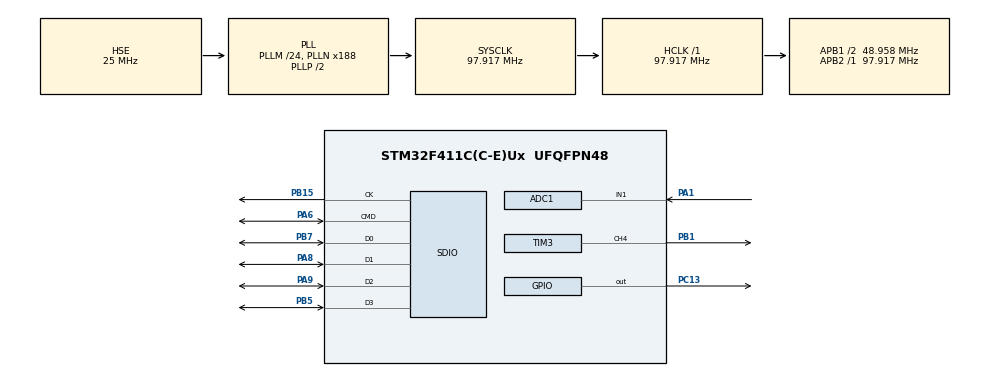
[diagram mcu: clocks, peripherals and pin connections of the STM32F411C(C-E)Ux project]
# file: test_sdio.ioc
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ADC1.Channel-2\#ChannelRegularConversion=ADC_CHANNEL_1
ADC1.NbrOfConversionFlag=1
ADC1.Rank-2\#ChannelRegularConversion=1
ADC1.Resolution=ADC_RESOLUTION_8B
ADC1.SamplingTime-2\#ChannelRegularConversion=ADC_SAMPLETIME_3CYCLES
ADC1.master=1
Dma.Request0=SDIO_RX
Dma.Request1=SDIO_TX
Dma.SDIO_RX.0.Direction=DMA_PERIPH_TO_MEMORY
Dma.SDIO_RX.0.FIFOMode=DMA_FIFOMODE_ENABLE
Dma.SDIO_RX.0.FIFOThreshold=DMA_FIFO_THRESHOLD_FULL
Dma.SDIO_RX.0.Instance=DMA2_Stream3
Dma.SDIO_RX.0.MemBurst=DMA_MBURST_INC4
Dma.SDIO_RX.0.MemDataAlignment=DMA_MDATAALIGN_WORD
Dma.SDIO_RX.0.MemInc=DMA_MINC_ENABLE
Dma.SDIO_RX.0.Mode=DMA_PFCTRL
Dma.SDIO_RX.0.PeriphBurst=DMA_PBURST_INC4
Dma.SDIO_RX.0.PeriphDataAlignment=DMA_PDATAALIGN_WORD
Dma.SDIO_RX.0.PeriphInc=DMA_PINC_DISABLE
Dma.SDIO_RX.0.Priority=DMA_PRIORITY_LOW
Dma.SDIO_TX.1.Direction=DMA_MEMORY_TO_PERIPH
Dma.SDIO_TX.1.FIFOMode=DMA_FIFOMODE_ENABLE
Dma.SDIO_TX.1.FIFOThreshold=DMA_FIFO_THRESHOLD_FULL
Dma.SDIO_TX.1.Instance=DMA2_Stream6
Dma.SDIO_TX.1.MemBurst=DMA_MBURST_INC4
Dma.SDIO_TX.1.MemDataAlignment=DMA_MDATAALIGN_WORD
Dma.SDIO_TX.1.MemInc=DMA_MINC_ENABLE
Dma.SDIO_TX.1.Mode=DMA_PFCTRL
Dma.SDIO_TX.1.PeriphBurst=DMA_PBURST_INC4
Dma.SDIO_TX.1.PeriphDataAlignment=DMA_PDATAALIGN_WORD
Dma.SDIO_TX.1.PeriphInc=DMA_PINC_DISABLE
Dma.SDIO_TX.1.Priority=DMA_PRIORITY_LOW
Mcu.Family=STM32F4
Mcu.Name=STM32F411C(C-E)Ux
Mcu.Package=UFQFPN48
NVIC.DMA2_Stream3_IRQn=true\:2\:0\:true\:false\:true\:false\:true\:true
NVIC.DMA2_Stream6_IRQn=true\:3\:0\:true\:false\:true\:false\:true\:true
NVIC.PriorityGroup=NVIC_PRIORITYGROUP_4
NVIC.SDIO_IRQn=true\:1\:0\:true\:false\:true\:true\:true\:true
NVIC.TIM3_IRQn=true\:0\:0\:true\:false\:true\:true\:true\:true
PA1.Signal=ADCx_IN1
PA13.Mode=Serial_Wire
PA13.Signal=SYS_JTMS-SWDIO
PA14.Mode=Serial_Wire
PA14.Signal=SYS_JTCK-SWCLK
PA6.Mode=SD_4_bits_Wide_bus
PA6.Signal=SDIO_CMD
PA8.Mode=SD_4_bits_Wide_bus
PA8.Signal=SDIO_D1
PA9.Mode=SD_4_bits_Wide_bus
PA9.Signal=SDIO_D2
PB1.Signal=S_TIM3_CH4
PB15.Mode=SD_4_bits_Wide_bus
PB15.Signal=SDIO_CK
PB5.Mode=SD_4_bits_Wide_bus
PB5.Signal=SDIO_D3
PB7.Mode=SD_4_bits_Wide_bus
PB7.Signal=SDIO_D0
PC13-ANTI_TAMP.PinState=GPIO_PIN_SET
PC13-ANTI_TAMP.Signal=GPIO_Output
PH0\ -\ OSC_IN.Mode=HSE-External-Oscillator
PH0\ -\ OSC_IN.Signal=RCC_OSC_IN
PH1\ -\ OSC_OUT.Mode=HSE-External-Oscillator
PH1\ -\ OSC_OUT.Signal=RCC_OSC_OUT
ProjectManager.HeapSize=0x400
ProjectManager.StackSize=0x800
ProjectManager.TargetToolchain=EWARM V8
RCC.48MHZClocksFreq_Value=24479166.666666664
RCC.AHBFreq_Value=97916666.66666666
RCC.APB1CLKDivider=RCC_HCLK_DIV2
RCC.APB1Freq_Value=48958333.33333333
RCC.APB1TimFreq_Value=97916666.66666666
RCC.APB2Freq_Value=97916666.66666666
RCC.APB2TimFreq_Value=97916666.66666666
RCC.CortexFreq_Value=97916666.66666666
RCC.HCLKFreq_Value=97916666.66666666
RCC.HSE_VALUE=25000000
RCC.HSI_VALUE=16000000
RCC.LSE_VALUE=32768
RCC.PLLM=24
RCC.PLLN=188
RCC.PLLQ=8
RCC.PLLSourceVirtual=RCC_PLLSOURCE_HSE
RCC.SYSCLKFreq_VALUE=97916666.66666666
RCC.SYSCLKSource=RCC_SYSCLKSOURCE_PLLCLK
RCC.VCOOutputFreq_Value=195833333.3333333
SDIO.ClockBypass=SDIO_CLOCK_BYPASS_ENABLE
SDIO.ClockDiv=10
SDIO.HardwareFlowControl=SDIO_HARDWARE_FLOW_CONTROL_ENABLE
SH.ADCx_IN1.0=ADC1_IN1,IN1
SH.S_TIM3_CH4.0=TIM3_CH4,PWM Generation4 CH4
TIM3.Channel-PWM\ Generation4\ CH4=TIM_CHANNEL_4
TIM3.Period=255
TIM3.Prescaler=12
VP_TIM3_VS_ClockSourceINT.Mode=Internal
board=custom

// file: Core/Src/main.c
/* USER CODE BEGIN Header */
/**
  ******************************************************************************
  * @file           : main.c
  * @brief          : Main program body
  ******************************************************************************
  * @attention
  *
  * Copyright (c) 2023 STMicroelectronics.
  * All rights reserved.
  *
  * This software is licensed under terms that can be found in the LICENSE file
  * in the root directory of this software component.
  * If no LICENSE file comes with this software, it is provided AS-IS.
  *
  ******************************************************************************
  */
/* USER CODE END Header */
#include "main.h"

ADC_HandleTypeDef hadc1;

SD_HandleTypeDef hsd;
DMA_HandleTypeDef hdma_sdio_rx;
DMA_HandleTypeDef hdma_sdio_tx;

TIM_HandleTypeDef htim3;

/* USER CODE BEGIN PV */
const uint32_t MAX_CARD_SECTOR = 122800;//6 min
uint16_t playerIndex;
uint32_t cardSector = 0;
uint8_t readingSemaphore;
uint8_t sdCardReadBuffer[1026]; // Buffer to hold read data
uint8_t sdCardWriteBuffer[1024]; // Buffer to hold read data
HAL_StatusTypeDef stat;
HAL_SD_CardInfoTypeDef cardInfo;
/* USER CODE END PV */

void SystemClock_Config(void);
static void MX_GPIO_Init(void);
static void MX_DMA_Init(void);
static void MX_ADC1_Init(void);
static void MX_SDIO_SD_Init(void);
static void MX_TIM3_Init(void);

int main(void)
{

  /* MCU Configuration--------------------------------------------------------*/

  /* Reset of all peripherals, Initializes the Flash interface and the Systick. */
  HAL_Init();

  /* Configure the system clock */
  SystemClock_Config();

  /* Initialize all configured peripherals */
  MX_GPIO_Init();
  MX_DMA_Init();
  MX_ADC1_Init();
  MX_SDIO_SD_Init();
  MX_TIM3_Init();
  /* USER CODE BEGIN 2 */
          HAL_TIM_PWM_Start_IT(&htim3,TIM_CHANNEL_4);
          ///initialize reading semaphore
          readingSemaphore = 0;
          /* Initialize the SD card by sending CMD0 (GO_IDLE_STATE) command */
          if (HAL_SD_InitCard(&hsd) == HAL_OK) {
              /* Card initialization was successful */
            GPIOC->BSRR = GPIO_BSRR_BS13;
          } else {
              /* Card initialization failed */
            GPIOC->BSRR = GPIO_BSRR_BR13;
            while(1){}

          }
            stat = HAL_SD_ReadBlocks_DMA(&hsd,sdCardReadBuffer,0,1);

            HAL_Delay(200);

           //stat = HAL_SD_ReadBlocks(&hsd, sdCardReadBuffer, 0, 1, 10000);
                 /* Read a single block of data (512 bytes) from the SD card */
          if (stat == HAL_OK) {
             GPIOC->BSRR = GPIO_BSRR_BS13;
              /* Data read successful, process the data in 'buffer' */
          } else {
            GPIOC->BSRR = GPIO_BSRR_BR13;
              /* Read operation failed */
          }

             //HAL_TIM_PWM_Start_IT(&htim3,TIM_CHANNEL_4);
  /* USER CODE END 2 */

  /* Infinite loop */
  /* USER CODE BEGIN WHILE */

  while (1)
  {

    if (cardSector < MAX_CARD_SECTOR) {
        switch (readingSemaphore) {
        case 0x01:
          readingSemaphore = 0;
          //the first half of a buffer  has been red - reading from SD
          HAL_SD_ReadBlocks_DMA(&hsd,sdCardReadBuffer, cardSector,1);
          cardSector++;
          break;
        case 0x02:
          readingSemaphore = 0;
          //if the second part of buffer has been red -reading from SD
          HAL_SD_ReadBlocks_DMA(&hsd, (uint8_t*)(sdCardReadBuffer+512), cardSector,1);
          cardSector++;
          break;
        }

    } else {
      cardSector = 1;
    }

    /* USER CODE END WHILE */

    /* USER CODE BEGIN 3 */

  }          ///insert when you want to turn off
           /* De-initialize the SD card */
          if (HAL_SD_DeInit(&hsd) == HAL_OK) {
              /* Card de-initialization was successful */
            GPIOC->BSRR = GPIO_BSRR_BS13;
          } else {
              /* Card de-initialization failed */
            GPIOC->BSRR = GPIO_BSRR_BR13;
          }
  /* USER CODE END 3 */
}

void SystemClock_Config(void)
{
  RCC_OscInitTypeDef RCC_OscInitStruct = {0};
  RCC_ClkInitTypeDef RCC_ClkInitStruct = {0};

  /** Configure the main internal regulator output voltage
  */
  __HAL_RCC_PWR_CLK_ENABLE();
  __HAL_PWR_VOLTAGESCALING_CONFIG(PWR_REGULATOR_VOLTAGE_SCALE1);

  /** Initializes the RCC Oscillators according to the specified parameters
  * in the RCC_OscInitTypeDef structure.
  */
  RCC_OscInitStruct.OscillatorType = RCC_OSCILLATORTYPE_HSE;
  RCC_OscInitStruct.HSEState = RCC_HSE_ON;
  RCC_OscInitStruct.PLL.PLLState = RCC_PLL_ON;
  RCC_OscInitStruct.PLL.PLLSource = RCC_PLLSOURCE_HSE;
  RCC_OscInitStruct.PLL.PLLM = 24;
  RCC_OscInitStruct.PLL.PLLN = 188;
  RCC_OscInitStruct.PLL.PLLP = RCC_PLLP_DIV2;
  RCC_OscInitStruct.PLL.PLLQ = 8;
  if (HAL_RCC_OscConfig(&RCC_OscInitStruct) != HAL_OK)
  {
    Error_Handler();
  }

  /** Initializes the CPU, AHB and APB buses clocks
  */
  RCC_ClkInitStruct.ClockType = RCC_CLOCKTYPE_HCLK|RCC_CLOCKTYPE_SYSCLK
                              |RCC_CLOCKTYPE_PCLK1|RCC_CLOCKTYPE_PCLK2;
  RCC_ClkInitStruct.SYSCLKSource = RCC_SYSCLKSOURCE_PLLCLK;
  RCC_ClkInitStruct.AHBCLKDivider = RCC_SYSCLK_DIV1;
  RCC_ClkInitStruct.APB1CLKDivider = RCC_HCLK_DIV2;
  RCC_ClkInitStruct.APB2CLKDivider = RCC_HCLK_DIV1;

  if (HAL_RCC_ClockConfig(&RCC_ClkInitStruct, FLASH_LATENCY_3) != HAL_OK)
  {
    Error_Handler();
  }
}

static void MX_ADC1_Init(void)
{

  ADC_ChannelConfTypeDef sConfig = {0};

  /** Configure the global features of the ADC (Clock, Resolution, Data Alignment and number of conversion)
  */
  hadc1.Instance = ADC1;
  hadc1.Init.ClockPrescaler = ADC_CLOCK_SYNC_PCLK_DIV4;
  hadc1.Init.Resolution = ADC_RESOLUTION_8B;
  hadc1.Init.ScanConvMode = DISABLE;
  hadc1.Init.ContinuousConvMode = DISABLE;
  hadc1.Init.DiscontinuousConvMode = DISABLE;
  hadc1.Init.ExternalTrigConvEdge = ADC_EXTERNALTRIGCONVEDGE_NONE;
  hadc1.Init.ExternalTrigConv = ADC_SOFTWARE_START;
  hadc1.Init.DataAlign = ADC_DATAALIGN_RIGHT;
  hadc1.Init.NbrOfConversion = 1;
  hadc1.Init.DMAContinuousRequests = DISABLE;
  hadc1.Init.EOCSelection = ADC_EOC_SINGLE_CONV;
  if (HAL_ADC_Init(&hadc1) != HAL_OK)
  {
    Error_Handler();
  }

  /** Configure for the selected ADC regular channel its corresponding rank in the sequencer and its sample time.
  */
  sConfig.Channel = ADC_CHANNEL_1;
  sConfig.Rank = 1;
  sConfig.SamplingTime = ADC_SAMPLETIME_3CYCLES;
  if (HAL_ADC_ConfigChannel(&hadc1, &sConfig) != HAL_OK)
  {
    Error_Handler();
  }

}

static void MX_SDIO_SD_Init(void)
{

  hsd.Instance = SDIO;
  hsd.Init.ClockEdge = SDIO_CLOCK_EDGE_RISING;
  hsd.Init.ClockBypass = SDIO_CLOCK_BYPASS_ENABLE;
  hsd.Init.ClockPowerSave = SDIO_CLOCK_POWER_SAVE_DISABLE;
  hsd.Init.BusWide = SDIO_BUS_WIDE_1B;
  hsd.Init.HardwareFlowControl = SDIO_HARDWARE_FLOW_CONTROL_ENABLE;
  hsd.Init.ClockDiv = 10;
  if (HAL_SD_Init(&hsd) != HAL_OK)
  {
    Error_Handler();
  }
  if (HAL_SD_ConfigWideBusOperation(&hsd, SDIO_BUS_WIDE_4B) != HAL_OK)
  {
    Error_Handler();
  }

}

static void MX_TIM3_Init(void)
{

  TIM_ClockConfigTypeDef sClockSourceConfig = {0};
  TIM_MasterConfigTypeDef sMasterConfig = {0};
  TIM_OC_InitTypeDef sConfigOC = {0};

  htim3.Instance = TIM3;
  htim3.Init.Prescaler = 12;
  htim3.Init.CounterMode = TIM_COUNTERMODE_UP;
  htim3.Init.Period = 255;
  htim3.Init.ClockDivision = TIM_CLOCKDIVISION_DIV1;
  htim3.Init.AutoReloadPreload = TIM_AUTORELOAD_PRELOAD_DISABLE;
  if (HAL_TIM_Base_Init(&htim3) != HAL_OK)
  {
    Error_Handler();
  }
  sClockSourceConfig.ClockSource = TIM_CLOCKSOURCE_INTERNAL;
  if (HAL_TIM_ConfigClockSource(&htim3, &sClockSourceConfig) != HAL_OK)
  {
    Error_Handler();
  }
  if (HAL_TIM_PWM_Init(&htim3) != HAL_OK)
  {
    Error_Handler();
  }
  sMasterConfig.MasterOutputTrigger = TIM_TRGO_RESET;
  sMasterConfig.MasterSlaveMode = TIM_MASTERSLAVEMODE_DISABLE;
  if (HAL_TIMEx_MasterConfigSynchronization(&htim3, &sMasterConfig) != HAL_OK)
  {
    Error_Handler();
  }
  sConfigOC.OCMode = TIM_OCMODE_PWM1;
  sConfigOC.Pulse = 0;
  sConfigOC.OCPolarity = TIM_OCPOLARITY_HIGH;
  sConfigOC.OCFastMode = TIM_OCFAST_DISABLE;
  if (HAL_TIM_PWM_ConfigChannel(&htim3, &sConfigOC, TIM_CHANNEL_4) != HAL_OK)
  {
    Error_Handler();
  }
  HAL_TIM_MspPostInit(&htim3);

}

static void MX_DMA_Init(void)
{

  /* DMA controller clock enable */
  __HAL_RCC_DMA2_CLK_ENABLE();

  /* DMA interrupt init */
  /* DMA2_Stream3_IRQn interrupt configuration */
  HAL_NVIC_SetPriority(DMA2_Stream3_IRQn, 2, 0);
  HAL_NVIC_EnableIRQ(DMA2_Stream3_IRQn);
  /* DMA2_Stream6_IRQn interrupt configuration */
  HAL_NVIC_SetPriority(DMA2_Stream6_IRQn, 3, 0);
  HAL_NVIC_EnableIRQ(DMA2_Stream6_IRQn);

}

static void MX_GPIO_Init(void)
{
  GPIO_InitTypeDef GPIO_InitStruct = {0};

  /* GPIO Ports Clock Enable */
  __HAL_RCC_GPIOC_CLK_ENABLE();
  __HAL_RCC_GPIOH_CLK_ENABLE();
  __HAL_RCC_GPIOA_CLK_ENABLE();
  __HAL_RCC_GPIOB_CLK_ENABLE();

  /*Configure GPIO pin Output Level */
  HAL_GPIO_WritePin(GPIOC, GPIO_PIN_13, GPIO_PIN_SET);

  /*Configure GPIO pin : PC13 */
  GPIO_InitStruct.Pin = GPIO_PIN_13;
  GPIO_InitStruct.Mode = GPIO_MODE_OUTPUT_PP;
  GPIO_InitStruct.Pull = GPIO_NOPULL;
  GPIO_InitStruct.Speed = GPIO_SPEED_FREQ_LOW;
  HAL_GPIO_Init(GPIOC, &GPIO_InitStruct);

}

void Error_Handler(void)
{
  __disable_irq();
  while (1)
  {
  }
}
